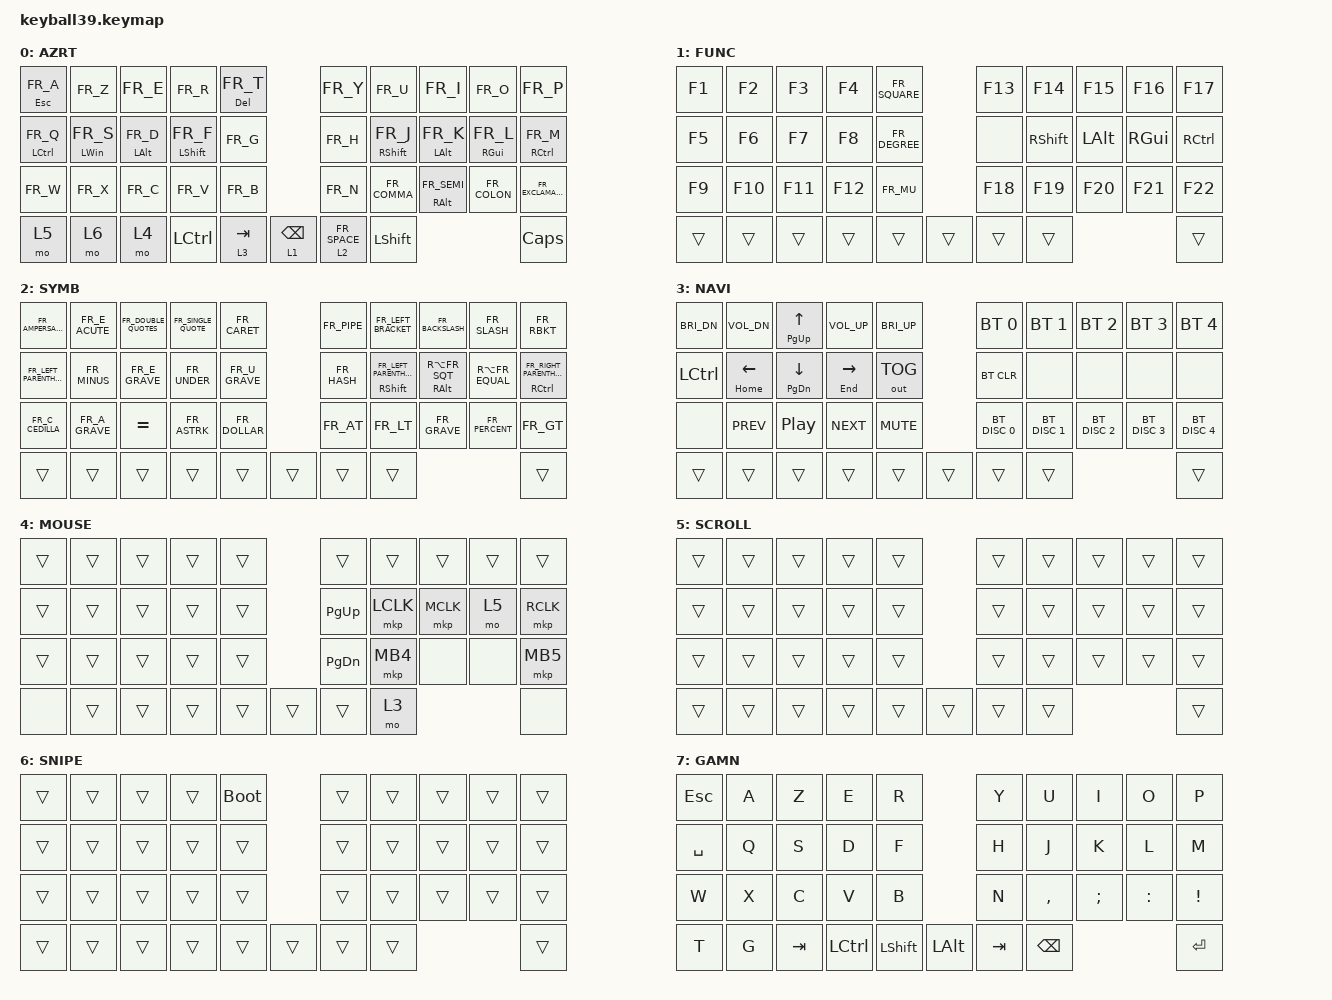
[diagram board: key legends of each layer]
#define DEFAULT 0
#define NUM     1
#define SYM     2
#define FUN     3
#define MOUSE   4
#define SCROLL  5
#define SNIPE   6

#include "keys_fr.h"
#include <behaviors/mouse_keys.dtsi>
#include <dt-bindings/zmk/mouse.h>
#include <behaviors.dtsi>
#include <dt-bindings/zmk/bt.h>
#include <dt-bindings/zmk/keys.h>
#include <dt-bindings/zmk/outputs.h>
#include <dt-bindings/zmk/pointing.h>

&nice_view_spi { cs-gpios = <&pro_micro 1 GPIO_ACTIVE_HIGH>; };

&lt {
    tapping-term-ms = <240>;
    flavor = "balanced";
    quick-tap-ms = <150>;
};

&mt { flavor = "tap-preferred"; };

&caps_word { continue-list = <UNDERSCORE MINUS>; };

/ {
    // custom shift using mod-morph 

    behaviors {
        cmqus: comma_question {
            compatible = "zmk,behavior-mod-morph";
            label = "COMMA_QUESTION";
            #binding-cells = <0>;
            bindings = <&kp COMMA>, <&kp QUESTION>;

            mods = <(MOD_LSFT|MOD_RSFT)>;
        };

        dtsmi: dot_semi {
            compatible = "zmk,behavior-mod-morph";
            label = "DOT_SEMI";
            #binding-cells = <0>;
            bindings = <&kp DOT>, <&kp SEMI>;

            mods = <(MOD_LSFT|MOD_RSFT)>;
        };

        hm: hm {
            compatible = "zmk,behavior-hold-tap";
            label = "HM";
            bindings = <&kp>, <&kp>;

            #binding-cells = <2>;
            tapping-term-ms = <150>;
            quick-tap-ms = <0>;
            flavor = "tap-preferred";
        };
    };

    macros {
        Hiragana: Hiragana {
            compatible = "zmk,behavior-macro";
            #binding-cells = <0>;
            bindings = <&kp LC(SPACE)>;
            label = "HIRAGANA";
        };
    };

    combos {
        compatible = "zmk,combos";

        Entrer {
            bindings = <&kp ENTER>;
            key-positions = <13 35>;
        };

        Espace {
            bindings = <&kp FR_SPACE>;
            key-positions = <10 35>;
        };

        Gaming_mode {
            bindings = <&tog 7>;
            key-positions = <33 34 35>;
        };
    };

    keymap {
        compatible = "zmk,keymap";

        Base {
            label = "AZRT";
            bindings = <
&mt ESCAPE FR_A  &kp FR_Z           &kp FR_E           &kp FR_R             &mt DEL FR_T                                   &kp FR_Y        &kp FR_U              &kp FR_I           &kp FR_O            &kp FR_P
&hm LCTRL FR_Q   &mt LEFT_WIN FR_S  &hm LEFT_ALT FR_D  &hm LEFT_SHIFT FR_F  &kp FR_G                                       &kp FR_H        &hm RIGHT_SHIFT FR_J  &hm LEFT_ALT FR_K  &mt RIGHT_GUI FR_L  &hm RIGHT_CONTROL FR_M
&kp FR_W         &kp FR_X           &kp FR_C           &kp FR_V             &kp FR_B                                       &kp FR_N        &kp FR_COMMA          &hm RALT FR_SEMI   &kp FR_COLON        &kp FR_EXCLAMATION
&mo 5            &mo 6              &mo 4              &kp LCTRL            &lt 3 TAB     &lt 1 BACKSPACE  &lt 2 FR_SPACE  &kp LEFT_SHIFT                                                               &kp CAPS
            >;
        };

        Functions {
            label = "FUNC";
            bindings = <
&kp F1  &kp F2   &kp F3   &kp F4   &kp FR_SQUARE                  &kp F13  &kp F14    &kp F15       &kp F16   &kp F17
&kp F5  &kp F6   &kp F7   &kp F8   &kp FR_DEGREE                  &none    &kp RSHFT  &kp LEFT_ALT  &kp RGUI  &kp RCTRL
&kp F9  &kp F10  &kp F11  &kp F12  &kp FR_MU                      &kp F18  &kp F19    &kp F20       &kp F21   &kp F22
&trans  &trans   &trans   &trans   &trans         &trans  &trans  &trans                                      &trans
            >;
        };

        Symbol {
            label = "SYMB";
            bindings = <
&kp FR_AMPERSAND         &kp FR_E_ACUTE  &kp FR_DOUBLE_QUOTES  &kp FR_SINGLE_QUOTE  &kp FR_CARET                    &kp FR_PIPE  &kp FR_LEFT_BRACKET                  &kp FR_BACKSLASH          &kp FR_SLASH      &kp FR_RBKT
&kp FR_LEFT_PARENTHESIS  &kp FR_MINUS    &kp FR_E_GRAVE        &kp FR_UNDER         &kp FR_U_GRAVE                  &kp FR_HASH  &mt RIGHT_SHIFT FR_LEFT_PARENTHESIS  &mt RIGHT_ALT RA(FR_SQT)  &kp RA(FR_EQUAL)  &mt RCTRL FR_RIGHT_PARENTHESIS
&kp FR_C_CEDILLA         &kp FR_A_GRAVE  &kp EQUAL             &kp FR_ASTRK         &kp FR_DOLLAR                   &kp FR_AT    &kp FR_LT                            &kp FR_GRAVE              &kp FR_PERCENT    &kp FR_GT
&trans                   &trans          &trans                &trans               &trans          &trans  &trans  &trans                                                                                        &trans
            >;
        };

        Navigation {
            label = "NAVI";
            bindings = <
&kp C_BRI_DN  &kp C_VOL_DN         &mt PAGE_UP UP            &kp C_VOL_UP         &kp C_BRI_UP                  &bt BT_SEL 0   &bt BT_SEL 1   &bt BT_SEL 2   &bt BT_SEL 3   &bt BT_SEL 4
&kp LCTRL     &mt HOME LEFT_ARROW  &mt PAGE_DOWN DOWN_ARROW  &mt END RIGHT_ARROW  &out OUT_TOG                  &bt BT_CLR     &none          &none          &none          &none
&none         &kp C_PREV           &kp C_PP                  &kp C_NEXT           &kp C_MUTE                    &bt BT_DISC 0  &bt BT_DISC 1  &bt BT_DISC 2  &bt BT_DISC 3  &bt BT_DISC 4
&trans        &trans               &trans                    &trans               &trans        &trans  &trans  &trans                                                      &trans
            >;
        };

        mouse_layer {
            label = "MOUSE";
            bindings = <
&trans  &trans  &trans  &trans  &trans                  &trans         &trans     &trans     &trans  &trans
&trans  &trans  &trans  &trans  &trans                  &kp PAGE_UP    &mkp LCLK  &mkp MCLK  &mo 5   &mkp RCLK
&trans  &trans  &trans  &trans  &trans                  &kp PAGE_DOWN  &mkp MB4   &none      &none   &mkp MB5
&none   &trans  &trans  &trans  &trans  &trans  &trans  &mo 3                                        &none
            >;
        };

        scroll_layer {
            label = "SCROLL";
            bindings = <
&trans  &trans  &trans  &trans  &trans                  &trans  &trans  &trans  &trans  &trans
&trans  &trans  &trans  &trans  &trans                  &trans  &trans  &trans  &trans  &trans
&trans  &trans  &trans  &trans  &trans                  &trans  &trans  &trans  &trans  &trans
&trans  &trans  &trans  &trans  &trans  &trans  &trans  &trans                          &trans
            >;
        };

        snipe_layer {
            label = "SNIPE";
            bindings = <
&trans  &trans  &trans  &trans  &bootloader                  &trans  &trans  &trans  &trans  &trans
&trans  &trans  &trans  &trans  &trans                       &trans  &trans  &trans  &trans  &trans
&trans  &trans  &trans  &trans  &trans                       &trans  &trans  &trans  &trans  &trans
&trans  &trans  &trans  &trans  &trans       &trans  &trans  &trans                          &trans
            >;
        };

        GAMING {
            bindings = <
&kp ESC    &kp A  &kp Z    &kp E      &kp R                         &kp Y     &kp U      &kp I     &kp O      &kp P
&kp SPACE  &kp Q  &kp S    &kp D      &kp F                         &kp H     &kp J      &kp K     &kp L      &kp M
&kp W      &kp X  &kp C    &kp V      &kp B                         &kp N     &kp COMMA  &kp SEMI  &kp COLON  &kp EXCL
&kp T      &kp G  &kp TAB  &kp LCTRL  &kp LSHFT  &kp LALT  &kp TAB  &kp BSPC                                  &kp ENTER
            >;

            label = "GAMN";
        };
    };
};
